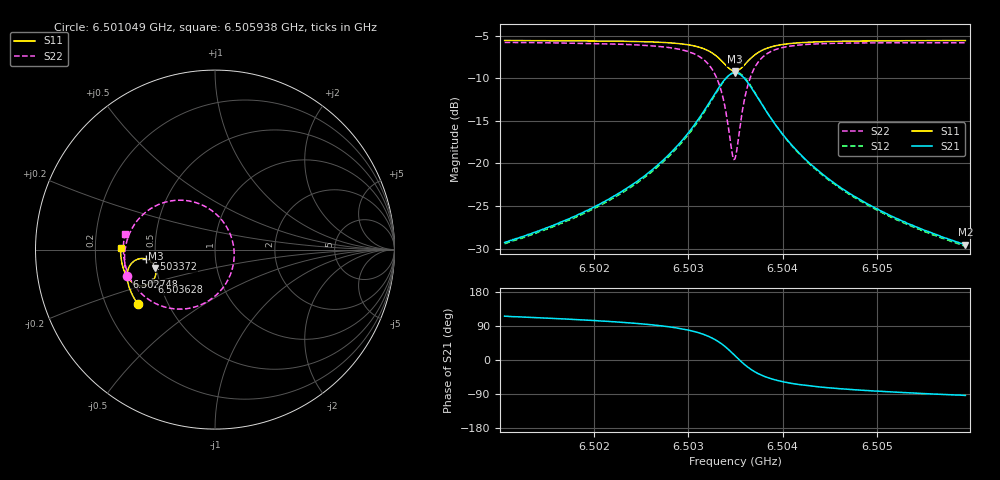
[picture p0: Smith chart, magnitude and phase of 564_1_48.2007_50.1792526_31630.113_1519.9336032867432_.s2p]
#  HZ  S  RI  R  50.00
! Rohde & Schwarz Vector Network Analyzer
! Rohde-Schwarz,ZNB20-2Port,1311601062101988,3.16
! Created: UTC 3/20/2024, 12:01:18 PM
! freq[Hz]  re:S11  im:S11  re:S21  im:S21  re:S12  im:S12  re:S22  im:S22
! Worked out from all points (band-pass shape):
!   401 points, 6.501049 GHz to 6.505938 GHz, reference 50 ohm
!   highest |S21| = -9.35 dB at 6.503494 GHz (marker M1); lowest = -29.5 dB at 6.505938 GHz (marker M2)
!   |S21| within 3 dB of the highest: 6.50325 GHz to 6.503739 GHz (489.2 kHz wide, 0.00752 % of centre)
!   lowest |S11| = -9.2 dB at 6.503494 GHz (marker M3), VSWR 2.07, Z = 24.6 - j5.76 ohm
!   |S11| at or under -10 dB: nowhere
!   |S22| runs from -19.5 to -5.8 dB; largest |S21 - S12| = 0.012
!   S11 on the Smith chart (normalised r, x): 6.501049 GHz: 0.34, -0.28; 6.502748 GHz: 0.33, -0.14; 6.503372 GHz: 0.44, -0.05; 6.503628 GHz: 0.45, -0.19; 6.505938 GHz: 0.31, +0.01
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6.5010494e9  -0.4308 -0.3035  -0.0149 0.031  -0.0131 0.0311  -0.492 -0.1466
6.5018683e9  -0.4655 -0.242  -0.0141 0.0492  -0.0116 0.0488  -0.5037 -0.0583
6.5022961e9  -0.4802 -0.2038  -0.0112 0.0678  -0.0082 0.0668  -0.5003 0.00351
6.5026872e9  -0.4892 -0.1597  -0.00148 0.0994  0.00223 0.097  -0.479 0.0832
6.5027483e9  -0.4896 -0.1515  0.00174 0.1067  0.00558 0.1041  -0.4719 0.0994
6.5029683e9  -0.4859 -0.1164  0.024 0.1421  0.0277 0.138  -0.4256 0.1704
6.5031272e9  -0.4711 -0.0842  0.0635 0.1783  0.0664 0.1727  -0.3488 0.2339
6.5032739e9  -0.4332 -0.0545  0.1454 0.2073  0.1461 0.201  -0.1998 0.2752
6.5033717e9  -0.3864 -0.0515  0.2372 0.1908  0.2373 0.1862  -0.0409 0.2326
6.5034572e9  -0.3433 -0.0807  0.316 0.1161  0.3187 0.112  0.0852 0.0856
6.5034817e9  -0.3351 -0.0952  0.3295 0.0842  0.333 0.0795  0.1023 0.0255
6.5034939e9  -0.3323 -0.1029  0.3339 0.0672  0.3377 0.0619  0.1064 -0.00621
6.5035183e9  -0.3292 -0.1193  0.3375 0.0324  0.3417 0.0258  0.1042 -0.07
6.503555e9  -0.3313 -0.1436  0.3303 -0.0183  0.3341 -0.0268  0.0772 -0.1595
6.5036283e9  -0.3536 -0.181  0.2835 -0.0952  0.2838 -0.1066  -0.0332 -0.2838
6.5037383e9  -0.3994 -0.2013  0.196 -0.1411  0.1909 -0.1509  -0.2105 -0.3312
6.5038972e9  -0.447 -0.192  0.1115 -0.1373  0.1045 -0.1426  -0.3627 -0.2828
6.5040683e9  -0.4752 -0.1706  0.0657 -0.1161  0.0593 -0.1186  -0.4369 -0.2159
6.5043128e9  -0.4962 -0.1408  0.0349 -0.0907  0.0299 -0.0914  -0.4812 -0.1421
6.5046672e9  -0.5115 -0.1031  0.0158 -0.0674  0.0124 -0.067  -0.5038 -0.0686
6.5051317e9  -0.5214 -0.0594  0.00528 -0.0495  0.00294 -0.0489  -0.5107 -0.000806
6.5059384e9  -0.5265 0.00944  -0.00202 -0.0333  -0.0033 -0.0326  -0.5033 0.0863
